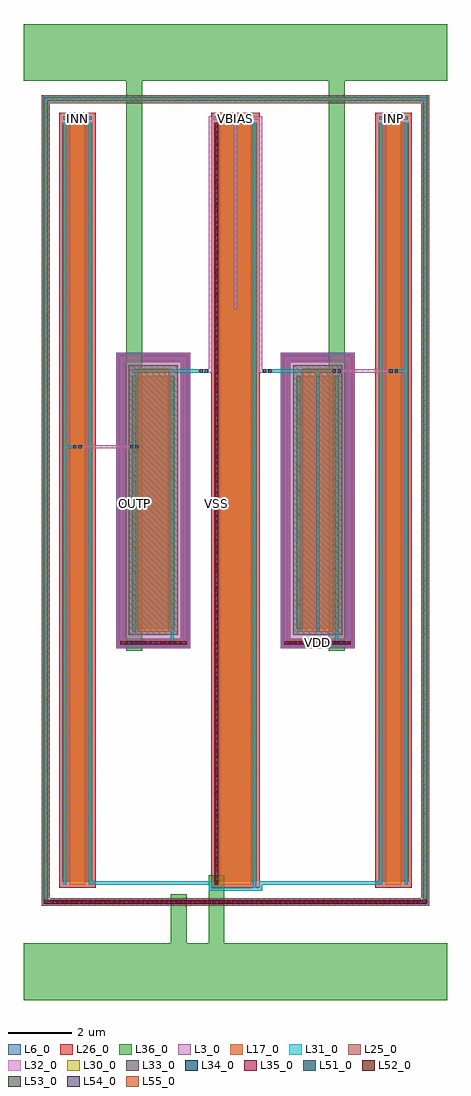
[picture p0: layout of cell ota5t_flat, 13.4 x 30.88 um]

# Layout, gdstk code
import gdstk
lib = gdstk.Library(unit=1e-6, precision=1e-09)
def R(c, l, rs):  # rectangles x0, y0, x1, y1
    for r in rs: c.add(gdstk.rectangle(r[:2], r[2:], *l))
def A(c, l, x, y, w, h, nx, ny, dx, dy):  # array of equal rectangles
    R(c, l, [(x+i*dx, y+j*dy, x+i*dx+w, y+j*dy+h) for i in range(nx) for j in range(ny)])
L3_0 = (3, 0)
L6_0 = (6, 0)
L17_0 = (17, 0)
L25_0 = (25, 0)
L26_0 = (26, 0)
L30_0 = (30, 0)
L31_0 = (31, 0)
L32_0 = (32, 0)
L33_0 = (33, 0)
L34_0 = (34, 0)
L35_0 = (35, 0)
L36_0 = (36, 0)
L51_0 = (51, 0)
L52_0 = (52, 0)
L53_0 = (53, 0)
L54_0 = (54, 0)
L55_0 = (55, 0)

ota5t_flat = lib.new_cell('ota5t_flat')
R(ota5t_flat, L3_0, [(1.625,7.425,3.975,16.775), (6.825,7.425,9.175,16.775), (2.075,7.9,3.525,16.2), (7.275,7.9,8.725,16.2)])
R(ota5t_flat, L6_0, [(-0.675,-0.675,-0.525,-0.525), (-0.525,-0.675,11.325,-0.525), (11.325,-0.675,11.475,-0.525), (-0.675,-0.525,-0.525,24.725), (11.325,-0.525,11.475,24.725), (-0.075,0.05,0.875,24.05), (4.725,0.05,6.075,24.05), (9.925,0.05,10.875,24.05), (1.725,7.525,1.875,7.675), (1.875,7.525,3.725,7.675), (3.725,7.525,3.875,7.675), (6.925,7.525,7.075,7.675), (7.075,7.525,8.925,7.675), (8.925,7.525,9.075,7.675), (1.725,7.675,1.875,16.525), (3.725,7.675,3.875,16.525), (6.925,7.675,7.075,16.525), (8.925,7.675,9.075,16.525), (2.125,8.05,3.475,16.05), (7.325,8.05,8.675,16.05), (1.725,16.525,1.875,16.675), (1.875,16.525,3.725,16.675), (3.725,16.525,3.875,16.675), (6.925,16.525,7.075,16.675), (7.075,16.525,8.925,16.675), (8.925,16.525,9.075,16.675), (-0.675,24.725,-0.525,24.875), (-0.525,24.725,11.325,24.875), (11.325,24.725,11.475,24.875)])
R(ota5t_flat, L17_0, [(0.15,-0.05,0.65,24.15), (4.9,-0.05,5.9,24.15), (10.15,-0.05,10.65,24.15), (2.3,7.95,3.3,16.15), (7.5,7.95,8.5,16.15), (2.3,16.05,3.3,16.275), (7.5,16.05,8.5,16.275), (0.15,24.05,0.65,24.275), (4.9,24.05,5.9,24.275), (10.15,24.05,10.65,24.275)])
R(ota5t_flat, L25_0, [(-0.725,-0.725,-0.475,-0.475), (-0.525,-0.725,11.325,-0.475), (11.275,-0.725,11.525,-0.475), (-0.725,-0.525,-0.475,24.725), (11.275,-0.525,11.525,24.725), (2.025,7.85,3.575,16.375), (7.225,7.85,8.775,16.375), (-0.725,24.675,-0.475,24.925), (-0.525,24.675,11.325,24.925), (11.275,24.675,11.525,24.925)])
R(ota5t_flat, L26_0, [(-0.175,-0.15,0.975,24.375), (4.625,-0.15,6.175,24.375), (9.825,-0.15,10.975,24.375), (1.675,7.475,1.925,7.725), (1.875,7.475,3.725,7.725), (3.675,7.475,3.925,7.725), (6.875,7.475,7.125,7.725), (7.075,7.475,8.925,7.725), (8.875,7.475,9.125,7.725), (1.675,7.675,1.925,16.525), (3.675,7.675,3.925,16.525), (6.875,7.675,7.125,16.525), (8.875,7.675,9.125,16.525), (1.675,16.475,1.925,16.725), (1.875,16.475,3.725,16.725), (3.675,16.475,3.925,16.725), (6.875,16.475,7.125,16.725), (7.075,16.475,8.925,16.725), (8.875,16.475,9.125,16.725)])
A(ota5t_flat, L30_0, -0.4, -0.625, 0.05, 0.05, 78, 2, 0.15, 25.4)
A(ota5t_flat, L30_0, -0.625, -0.455, 0.05, 0.05, 1, 168, 0, 0.15)
A(ota5t_flat, L30_0, 11.375, -0.455, 0.05, 0.05, 1, 168, 0, 0.15)
A(ota5t_flat, L30_0, -0.025, 0.175, 0.05, 0.05, 1, 159, 0, 0.15)
A(ota5t_flat, L30_0, 0.775, 0.175, 0.05, 0.05, 1, 159, 0, 0.15)
A(ota5t_flat, L30_0, 4.775, 0.175, 0.05, 0.05, 1, 159, 0, 0.15)
A(ota5t_flat, L30_0, 5.975, 0.175, 0.05, 0.05, 1, 159, 0, 0.15)
A(ota5t_flat, L30_0, 9.975, 0.175, 0.05, 0.05, 1, 159, 0, 0.15)
A(ota5t_flat, L30_0, 10.775, 0.175, 0.05, 0.05, 1, 159, 0, 0.15)
A(ota5t_flat, L30_0, 1.95, 7.575, 0.05, 0.05, 12, 1, 0.15, 0)
A(ota5t_flat, L30_0, 7.15, 7.575, 0.05, 0.05, 12, 1, 0.15, 0)
A(ota5t_flat, L30_0, 2.175, 8.125, 0.05, 0.05, 1, 53, 0, 0.15)
A(ota5t_flat, L30_0, 3.375, 8.125, 0.05, 0.05, 1, 53, 0, 0.15)
A(ota5t_flat, L30_0, 7.375, 8.125, 0.05, 0.05, 1, 53, 0, 0.15)
A(ota5t_flat, L30_0, 8.575, 8.125, 0.05, 0.05, 1, 53, 0, 0.15)
A(ota5t_flat, L30_0, 2.365, 16.175, 0.05, 0.05, 6, 1, 0.165, 0)
A(ota5t_flat, L30_0, 7.56, 16.175, 0.05, 0.05, 6, 1, 0.165, 0)
A(ota5t_flat, L30_0, 0.205, 24.175, 0.05, 0.05, 3, 1, 0.175, 0)
A(ota5t_flat, L30_0, 4.96, 24.175, 0.05, 0.05, 6, 1, 0.165, 0)
A(ota5t_flat, L30_0, 10.195, 24.175, 0.05, 0.05, 3, 1, 0.175, 0)
R(ota5t_flat, L31_0, [(-0.65,-0.65,-0.55,-0.55), (-0.55,-0.65,-0.525,-0.55), (-0.525,-0.65,11.325,-0.55), (11.325,-0.65,11.35,-0.55), (11.35,-0.65,11.45,-0.55), (-0.65,-0.55,-0.55,-0.525), (11.35,-0.55,11.45,-0.525), (-0.65,-0.525,-0.55,24.725), (11.35,-0.525,11.45,24.725), (4.55,-0.25,5.45,-0.15), (4.55,-0.25,4.65,0.05), (5.35,-0.25,6.25,-0.15), (5.95,-0.25,6.05,0.05), (6.15,-0.25,6.25,0.05), (-0.05,-0.05,0.05,24.05), (0.75,-0.05,0.85,24.05), (0.75,-0.05,4.65,0.05), (4.75,-0.05,4.85,24.05), (5.95,-0.05,6.05,24.05), (6.15,-0.05,10.05,0.05), (9.95,-0.05,10.05,24.05), (10.75,-0.05,10.85,24.05), (-0.05,0.05,0.05,24.05), (0.75,0.05,0.85,24.05), (4.75,0.05,4.85,24.05), (5.95,0.05,6.05,24.05), (9.95,0.05,10.05,24.05), (10.75,0.05,10.85,24.05), (1.75,7.55,1.85,7.65), (1.85,7.55,1.875,7.65), (1.875,7.55,3.725,7.65), (3.35,7.55,3.45,7.95), (3.725,7.55,3.75,7.65), (3.75,7.55,3.85,7.65), (6.95,7.55,7.05,7.65), (7.05,7.55,7.075,7.65), (7.075,7.55,8.925,7.65), (8.55,7.55,8.65,7.95), (8.925,7.55,8.95,7.65), (8.95,7.55,9.05,7.65), (2.15,7.95,2.25,16.05), (3.35,7.95,3.45,16.05), (7.35,7.95,7.45,16.05), (7.95,7.95,8.05,16.25), (8.55,7.95,8.65,16.05), (2.15,8.05,2.25,16.05), (3.35,8.05,3.45,16.05), (7.35,8.05,7.45,16.05), (8.55,8.05,8.65,16.05), (-0.05,13.75,0.45,13.85), (0.24,13.75,0.56,13.85), (2.04,13.75,2.36,13.85), (2.15,16.15,3.45,16.25), (2.3,16.15,3.3,16.25), (3.35,16.15,4.45,16.25), (4.24,16.15,4.56,16.25), (6.24,16.15,6.56,16.25), (6.35,16.15,7.45,16.25), (7.35,16.15,8.65,16.25), (7.5,16.15,8.5,16.25), (8.44,16.15,8.76,16.25), (10.24,16.15,10.56,16.25), (10.35,16.15,10.85,16.25), (-0.05,24.15,0.85,24.25), (0.15,24.15,0.65,24.25), (4.75,24.15,6.05,24.25), (4.9,24.15,5.9,24.25), (9.95,24.15,10.85,24.25), (10.15,24.15,10.65,24.25), (-0.65,24.725,-0.55,24.75), (11.35,24.725,11.45,24.75), (-0.65,24.75,-0.55,24.85), (-0.55,24.75,-0.525,24.85), (-0.525,24.75,11.325,24.85), (11.325,24.75,11.35,24.85), (11.35,24.75,11.45,24.85)])
R(ota5t_flat, L32_0, [(-0.65,-0.65,-0.55,-0.55), (-0.55,-0.65,-0.525,-0.55), (-0.525,-0.65,11.325,-0.55), (11.325,-0.65,11.35,-0.55), (11.35,-0.65,11.45,-0.55), (-0.65,-0.55,-0.55,-0.525), (11.35,-0.55,11.45,-0.525), (4.75,-0.05,4.85,24.05), (1.75,7.55,1.85,7.65), (1.85,7.55,1.875,7.65), (1.875,7.55,3.725,7.65), (3.725,7.55,3.75,7.65), (3.75,7.55,3.85,7.65), (6.95,7.55,7.05,7.65), (7.05,7.55,7.075,7.65), (7.075,7.55,8.925,7.65), (8.925,7.55,8.95,7.65), (8.95,7.55,9.05,7.65), (0.24,13.75,0.56,13.85), (0.35,13.75,2.25,13.85), (2.04,13.75,2.36,13.85), (4.24,16.15,4.56,16.25), (4.35,16.15,4.65,16.25), (4.55,16.15,4.65,24.25), (6.15,16.15,6.45,16.25), (6.15,16.15,6.25,24.25), (6.24,16.15,6.56,16.25), (8.44,16.15,8.76,16.25), (8.55,16.15,10.45,16.25), (10.24,16.15,10.56,16.25), (5.35,18.15,5.45,24.25), (4.55,24.15,5.45,24.25), (5.35,24.15,6.25,24.25)])
R(ota5t_flat, L33_0, [(-0.65,-0.65,-0.55,-0.55), (-0.55,-0.65,-0.525,-0.55), (-0.525,-0.65,11.325,-0.55), (11.325,-0.65,11.35,-0.55), (11.35,-0.65,11.45,-0.55), (-0.65,-0.55,-0.55,-0.525), (11.35,-0.55,11.45,-0.525), (4.75,-0.05,4.85,24.05), (1.75,7.55,1.85,7.65), (1.85,7.55,1.875,7.65), (1.875,7.55,3.725,7.65), (3.725,7.55,3.75,7.65), (3.75,7.55,3.85,7.65), (6.95,7.55,7.05,7.65), (7.05,7.55,7.075,7.65), (7.075,7.55,8.925,7.65), (8.925,7.55,8.95,7.65), (8.95,7.55,9.05,7.65)])
R(ota5t_flat, L34_0, [(-0.65,-0.65,-0.55,-0.55), (-0.55,-0.65,-0.525,-0.55), (-0.525,-0.65,11.325,-0.55), (11.325,-0.65,11.35,-0.55), (11.35,-0.65,11.45,-0.55), (-0.65,-0.55,-0.55,-0.525), (11.35,-0.55,11.45,-0.525), (4.75,-0.05,4.85,24.05), (1.75,7.55,1.85,7.65), (1.85,7.55,1.875,7.65), (1.875,7.55,3.725,7.65), (3.725,7.55,3.75,7.65), (3.75,7.55,3.85,7.65), (6.95,7.55,7.05,7.65), (7.05,7.55,7.075,7.65), (7.075,7.55,8.925,7.65), (8.925,7.55,8.95,7.65), (8.95,7.55,9.05,7.65)])
R(ota5t_flat, L35_0, [(-0.65,-0.65,-0.55,-0.55), (-0.55,-0.65,-0.525,-0.55), (-0.525,-0.65,11.325,-0.55), (11.325,-0.65,11.35,-0.55), (11.35,-0.65,11.45,-0.55), (-0.65,-0.55,-0.55,-0.525), (11.35,-0.55,11.45,-0.525), (4.75,-0.05,4.85,24.05), (1.75,7.55,1.85,7.65), (1.85,7.55,1.875,7.65), (1.875,7.55,3.725,7.65), (3.725,7.55,3.75,7.65), (3.75,7.55,3.85,7.65), (6.95,7.55,7.05,7.65), (7.05,7.55,7.075,7.65), (7.075,7.55,8.925,7.65), (8.925,7.55,8.95,7.65), (8.95,7.55,9.05,7.65)])
R(ota5t_flat, L36_0, [(-1.3,-3.7,12.1,-1.9), (3.35,-2.25,3.85,-0.35), (4.55,-2.25,5.05,0.25), (-0.65,-0.65,-0.55,-0.55), (-0.55,-0.65,-0.525,-0.55), (-0.525,-0.65,11.325,-0.55), (11.325,-0.65,11.35,-0.55), (11.35,-0.65,11.45,-0.55), (-0.65,-0.55,-0.55,-0.525), (11.35,-0.55,11.45,-0.525), (4.75,-0.05,4.85,24.05), (1.95,7.35,2.45,25.65), (8.35,7.35,8.85,25.65), (1.75,7.55,1.85,7.65), (1.85,7.55,1.875,7.65), (1.875,7.55,3.725,7.65), (3.725,7.55,3.75,7.65), (3.75,7.55,3.85,7.65), (6.95,7.55,7.05,7.65), (7.05,7.55,7.075,7.65), (7.075,7.55,8.925,7.65), (8.925,7.55,8.95,7.65), (8.95,7.55,9.05,7.65), (-1.3,25.375,12.1,27.175)])
A(ota5t_flat, L51_0, -0.4, -0.625, 0.05, 0.05, 78, 1, 0.15, 0)
A(ota5t_flat, L51_0, 4.775, 0.05, 0.05, 0.05, 1, 160, 0, 0.15)
A(ota5t_flat, L51_0, 1.925, 7.575, 0.05, 0.05, 12, 1, 0.155, 0)
A(ota5t_flat, L51_0, 7.12, 7.575, 0.05, 0.05, 12, 1, 0.155, 0)
R(ota5t_flat, L51_0, [(0.27,13.75,0.37,13.85), (0.43,13.75,0.53,13.85), (2.07,13.75,2.17,13.85), (2.23,13.75,2.33,13.85), (4.27,16.15,4.37,16.25), (4.43,16.15,4.53,16.25), (6.27,16.15,6.37,16.25), (6.43,16.15,6.53,16.25), (8.47,16.15,8.57,16.25), (8.63,16.15,8.73,16.25), (10.27,16.15,10.37,16.25), (10.43,16.15,10.53,16.25)])
A(ota5t_flat, L52_0, -0.4, -0.625, 0.05, 0.05, 78, 1, 0.15, 0)
A(ota5t_flat, L52_0, 4.775, 0.05, 0.05, 0.05, 1, 160, 0, 0.15)
A(ota5t_flat, L52_0, 1.925, 7.575, 0.05, 0.05, 12, 1, 0.155, 0)
A(ota5t_flat, L52_0, 7.12, 7.575, 0.05, 0.05, 12, 1, 0.155, 0)
A(ota5t_flat, L53_0, -0.4, -0.625, 0.05, 0.05, 78, 1, 0.15, 0)
A(ota5t_flat, L53_0, 4.775, 0.05, 0.05, 0.05, 1, 160, 0, 0.15)
A(ota5t_flat, L53_0, 1.925, 7.575, 0.05, 0.05, 12, 1, 0.155, 0)
A(ota5t_flat, L53_0, 7.12, 7.575, 0.05, 0.05, 12, 1, 0.155, 0)
A(ota5t_flat, L54_0, -0.4, -0.625, 0.05, 0.05, 78, 1, 0.15, 0)
A(ota5t_flat, L54_0, 4.775, 0.05, 0.05, 0.05, 1, 160, 0, 0.15)
A(ota5t_flat, L54_0, 1.925, 7.575, 0.05, 0.05, 12, 1, 0.155, 0)
A(ota5t_flat, L54_0, 7.12, 7.575, 0.05, 0.05, 12, 1, 0.155, 0)
A(ota5t_flat, L55_0, -0.4, -0.625, 0.05, 0.05, 78, 1, 0.15, 0)
A(ota5t_flat, L55_0, 4.775, 0.05, 0.05, 0.05, 1, 160, 0, 0.15)
A(ota5t_flat, L55_0, 1.925, 7.575, 0.05, 0.05, 12, 1, 0.155, 0)
A(ota5t_flat, L55_0, 7.12, 7.575, 0.05, 0.05, 12, 1, 0.155, 0)
ota5t_flat.add(gdstk.Label('VDD', (8,7.6), layer=136, texttype=0))
ota5t_flat.add(gdstk.Label('OUTP', (2.2,12), layer=131, texttype=0))
ota5t_flat.add(gdstk.Label('INP', (10.4,24.2), layer=131, texttype=0))
ota5t_flat.add(gdstk.Label('INN', (0.4,24.2), layer=131, texttype=0))
ota5t_flat.add(gdstk.Label('VSS', (4.8,12), layer=136, texttype=0))
ota5t_flat.add(gdstk.Label('VBIAS', (5.4,24.2), layer=131, texttype=0))

lib.write_gds('ota5t_flat.gds')
